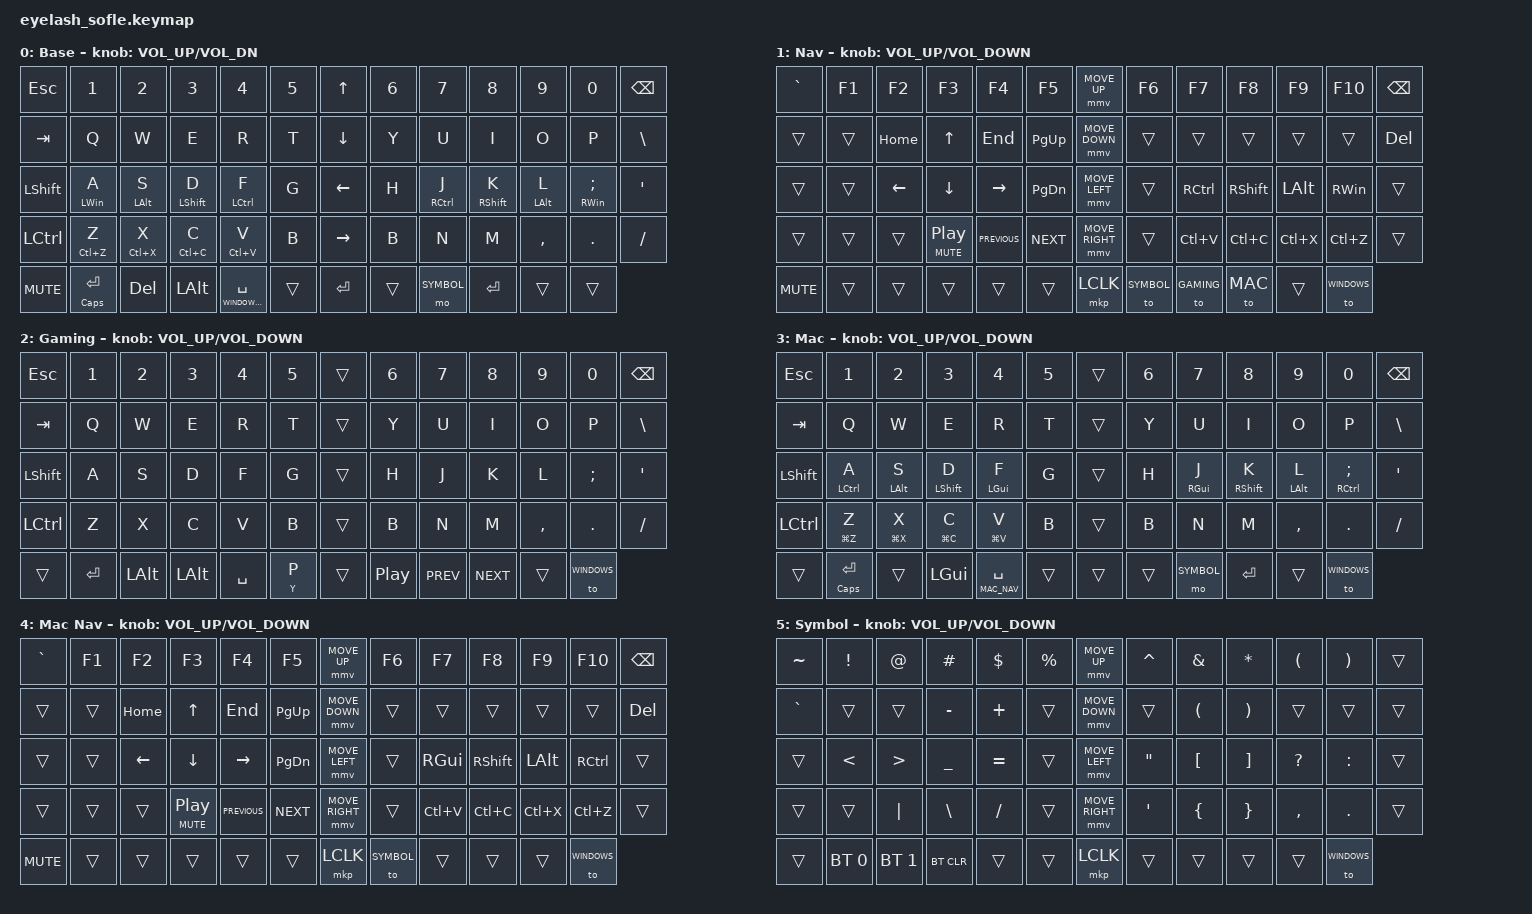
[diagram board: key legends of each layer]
#define ZMK_POINTING_DEFAULT_MOVE_VAL 1200  // 600
#define ZMK_POINTING_DEFAULT_SCRL_VAL 25   // 10
#define WINDOWS 0
#define WINDOWS_NAV 1
#define GAMING 2
#define MAC 3
#define MAC_NAV 4
#define SYMBOL 5

#include <input/processors.dtsi>
#include <zephyr/dt-bindings/input/input-event-codes.h>
#include <behaviors.dtsi>
#include <dt-bindings/zmk/bt.h>
#include <dt-bindings/zmk/keys.h>
#include <dt-bindings/zmk/pointing.h>

/ {
    zip_scroll_scaler: zip_scroll_scaler {
        compatible = "zmk,input-processor-scaler";
        #input-processor-cells = <2>;
        type = <INPUT_EV_REL>;
        codes = <INPUT_REL_WHEEL INPUT_REL_HWHEEL>;
        track-remainders;
    };
};

&mmv_input_listener { input-processors = <&zip_xy_scaler 2 1>; };

&msc_input_listener { input-processors = <&zip_scroll_scaler 2 1>; };

&msc {
    acceleration-exponent = <1>;      // 0
    time-to-max-speed-ms = <100>;       // 300
    delay-ms = <0>;                   // 0
};

&mmv {
    time-to-max-speed-ms = <500>;
    acceleration-exponent = <1>;
    trigger-period-ms = <16>;
};

&soft_off { hold-time-ms = <2000>; };

/ {
    scroll_encoder: scroll_encoder {
        compatible = "zmk,behavior-sensor-rotate";
        #sensor-binding-cells = <0>;
        bindings = <&msc SCRL_DOWN>, <&msc SCRL_UP>;

        tap-ms = <100>;
    };

    hml: hml {
        compatible = "zmk,behavior-hold-tap";
        label = "home_row_mod_left";
        bindings = <&kp>, <&kp>;

        #binding-cells = <2>;
        flavor = "balanced";
        hold-trigger-on-release;
        require-prior-idle-ms = <150>;
        tapping-term-ms = <280>;
        quick-tap-ms = <175>;
        hold-trigger-key-positions = <20 21 22 23 24 20 21 22 23 24 25 33 34 35 36 37 38 46 47 48 49 50 51 14 15 16 17 18 7 8 9 10 11>;
    };

    hmr: hmr {
        compatible = "zmk,behavior-hold-tap";
        label = "home_row_mod_right ";
        bindings = <&kp>, <&kp>;

        #binding-cells = <2>;
        tapping-term-ms = <280>;
        quick-tap-ms = <175>;
        require-prior-idle-ms = <150>;
        flavor = "balanced";
        hold-trigger-on-release;
        hold-trigger-key-positions = <14 15 16 17 18 27 28 29 30 31 40 41 42 43 44 1 2 3 4 5 7 8 9 10 11>;
    };

    mt_tp: mt_tp {
        compatible = "zmk,behavior-hold-tap";
        label = "mod_tap_tap_preferred";
        bindings = <&kp>, <&kp>;

        #binding-cells = <2>;
        tapping-term-ms = <180>;
        flavor = "tap-preferred";
        quick-tap-ms = <165>;
    };

    td_copy: td_copy {
        compatible = "zmk,behavior-tap-dance";
        label = "tap_dance_copy";
        #binding-cells = <0>;
        bindings = <&kp C>, <&kp LC(C)>;

        tapping-term-ms = <180>;
    };

    td_paste: td_paste {
        compatible = "zmk,behavior-tap-dance";
        label = "tap_dance_paste";
        #binding-cells = <0>;
        bindings = <&kp V>, <&kp LC(V)>;

        tapping-term-ms = <180>;
    };

    td_cut: td_cut {
        compatible = "zmk,behavior-tap-dance";
        label = "tap_dance_cut";
        #binding-cells = <0>;
        bindings = <&kp X>, <&kp LC(X)>;

        tapping-term-ms = <180>;
    };

    td_undo: td_undo {
        compatible = "zmk,behavior-tap-dance";
        label = "tap_dance_undo";
        #binding-cells = <0>;
        bindings = <&kp Z>, <&kp LC(Z)>;

        tapping-term-ms = <180>;
    };

    behaviors {
    };

    combos {
        compatible = "zmk,combos";

        softoff {
            bindings = <&soft_off>;
            key-positions = <14 28 40>;
        };
    };

    macros {
        SHIFT_MCLK: SHIFT_MCLK {
            compatible = "zmk,behavior-macro";
            #binding-cells = <0>;
            bindings =
                <&macro_press>,
                <&kp LEFT_SHIFT>,
                <&macro_press>,
                <&mkp MB3>,
                <&macro_pause_for_release>,
                <&macro_release>,
                <&kp LEFT_SHIFT &mkp MB3>;

            label = "SHIFT_MCLK";
        };
    };

    keymap {
        compatible = "zmk,keymap";

        layer_0 {
            bindings = <
&kp ESC           &kp N1              &kp N2           &kp N3             &kp N4                 &kp N5    &kp UP_ARROW     &kp N6  &kp N7                &kp N8              &kp N9           &kp N0               &kp BACKSPACE
&kp TAB           &kp Q               &kp W            &kp E              &kp R                  &kp T     &kp DOWN_ARROW   &kp Y   &kp U                 &kp I               &kp O            &kp P                &kp BSLH
&kp LEFT_SHIFT    &hml LEFT_WIN A     &hml LEFT_ALT S  &hml LEFT_SHIFT D  &hml LEFT_CONTROL F    &kp G     &kp LEFT_ARROW   &kp H   &hmr RIGHT_CONTROL J  &hmr RIGHT_SHIFT K  &hmr LEFT_ALT L  &hmr RIGHT_WIN SEMI  &kp APOS
&kp LEFT_CONTROL  &mt_tp LC(Z) Z      &mt_tp LC(X) X   &mt_tp LC(C) C     &mt_tp LC(V) V         &kp B     &kp RIGHT_ARROW  &kp B   &kp N                 &kp M               &kp COMMA        &kp DOT              &kp FSLH
&kp C_MUTE        &mt CAPSLOCK ENTER  &kp DELETE       &kp LEFT_ALT       &lt WINDOWS_NAV SPACE  &trans    &kp ENTER        &trans  &mo SYMBOL            &kp ENTER           &trans           &trans
            >;

            sensor-bindings = <&inc_dec_kp C_VOLUME_UP C_VOL_DN>;
            display-name = "Base";
        };

        layer_1 {
            bindings = <
&kp GRAVE   &kp F1  &kp F2    &kp F3                   &kp F4          &kp F5        &mmv MOVE_UP     &kp F6      &kp F7      &kp F8     &kp F9        &kp F10        &kp BSPC
&trans      &trans  &kp HOME  &kp UP                   &kp END         &kp PG_UP     &mmv MOVE_DOWN   &trans      &trans      &trans     &trans        &trans         &kp DEL
&trans      &trans  &kp LEFT  &kp DOWN                 &kp RIGHT       &kp PG_DN     &mmv MOVE_LEFT   &trans      &kp RCTRL   &kp RSHFT  &kp LEFT_ALT  &kp RIGHT_WIN  &trans
&trans      &trans  &trans    &mt C_MUTE C_PLAY_PAUSE  &kp C_PREVIOUS  &kp C_NEXT    &mmv MOVE_RIGHT  &trans      &kp LC(V)   &kp LC(C)  &kp LC(X)     &kp LC(Z)      &trans
&kp C_MUTE  &trans  &trans    &trans                   &trans          &trans        &mkp LCLK        &to SYMBOL  &to GAMING  &to MAC    &trans        &to WINDOWS
            >;

            display-name = "Nav";
            sensor-bindings = <&inc_dec_kp C_VOLUME_UP C_VOLUME_DOWN>;
            label = "Nav";
        };

        layer_2 {
            bindings = <
&kp ESC    &kp N1     &kp N2    &kp N3    &kp N4     &kp N5     &trans  &kp N6            &kp N7      &kp N8      &kp N9     &kp N0       &kp BSPC
&kp TAB    &kp Q      &kp W     &kp E     &kp R      &kp T      &trans  &kp Y             &kp U       &kp I       &kp O      &kp P        &kp BSLH
&kp LSHFT  &kp A      &kp S     &kp D     &kp F      &kp G      &trans  &kp H             &kp J       &kp K       &kp L      &kp SEMI     &kp SQT
&kp LCTRL  &kp Z      &kp X     &kp C     &kp V      &kp B      &trans  &kp B             &kp N       &kp M       &kp COMMA  &kp DOT      &kp FSLH
&trans     &kp ENTER  &kp LALT  &kp LALT  &kp SPACE  &mt Y P    &trans  &kp C_PLAY_PAUSE  &kp C_PREV  &kp C_NEXT  &trans     &to WINDOWS
            >;

            display-name = "Gaming";
            sensor-bindings = <&inc_dec_kp C_VOLUME_UP C_VOLUME_DOWN>;
            label = "Gaming";
        };

        layer_3 {
            bindings = <
&kp ESC    &kp N1               &kp N2           &kp N3             &kp N4             &kp N5    &trans  &kp N6  &kp N7            &kp N8              &kp N9           &kp N0                   &kp BSPC
&kp TAB    &kp Q                &kp W            &kp E              &kp R              &kp T     &trans  &kp Y   &kp U             &kp I               &kp O            &kp P                    &kp BSLH
&kp LSHFT  &hml LEFT_CONTROL A  &hml LEFT_ALT S  &hml LEFT_SHIFT D  &hml LEFT_GUI F    &kp G     &trans  &kp H   &hmr RIGHT_GUI J  &hmr RIGHT_SHIFT K  &hmr LEFT_ALT L  &hmr RIGHT_CONTROL SEMI  &kp SQT
&kp LCTRL  &mt_tp LG(Z) Z       &mt_tp LG(X) X   &mt_tp LG(C) C     &mt_tp LG(V) V     &kp B     &trans  &kp B   &kp N             &kp M               &kp COMMA        &kp DOT                  &kp FSLH
&trans     &mt CAPSLOCK ENTER   &trans           &kp LEFT_GUI       &lt MAC_NAV SPACE  &trans    &trans  &trans  &mo SYMBOL        &kp ENTER           &trans           &to WINDOWS
            >;

            display-name = "Mac";
            sensor-bindings = <&inc_dec_kp C_VOLUME_UP C_VOLUME_DOWN>;
            label = "Mac";
        };

        layer_4 {
            bindings = <
&kp GRAVE   &kp F1  &kp F2    &kp F3                   &kp F4          &kp F5        &mmv MOVE_UP     &kp F6      &kp F7         &kp F8           &kp F9        &kp F10            &kp BSPC
&trans      &trans  &kp HOME  &kp UP                   &kp END         &kp PG_UP     &mmv MOVE_DOWN   &trans      &trans         &trans           &trans        &trans             &kp DEL
&trans      &trans  &kp LEFT  &kp DOWN                 &kp RIGHT       &kp PG_DN     &mmv MOVE_LEFT   &trans      &kp RIGHT_GUI  &kp RIGHT_SHIFT  &kp LEFT_ALT  &kp RIGHT_CONTROL  &trans
&trans      &trans  &trans    &mt C_MUTE C_PLAY_PAUSE  &kp C_PREVIOUS  &kp C_NEXT    &mmv MOVE_RIGHT  &trans      &kp LC(V)      &kp LC(C)        &kp LC(X)     &kp LC(Z)          &trans
&kp C_MUTE  &trans  &trans    &trans                   &trans          &trans        &mkp LCLK        &to SYMBOL  &trans         &trans           &trans        &to WINDOWS
            >;

            display-name = "Mac Nav";
            sensor-bindings = <&inc_dec_kp C_VOLUME_UP C_VOLUME_DOWN>;
            label = "Mac Nav";
        };

        layer_5 {
            bindings = <
&kp TILDE  &kp EXCLAMATION  &kp AT_SIGN       &kp HASH        &kp DOLLAR  &kp PERCENT    &mmv MOVE_UP     &kp CARET          &kp AMPERSAND         &kp ASTERISK           &kp LEFT_PARENTHESIS  &kp RIGHT_PARENTHESIS  &trans
&kp GRAVE  &trans           &trans            &kp MINUS       &kp PLUS    &trans         &mmv MOVE_DOWN   &trans             &kp LEFT_PARENTHESIS  &kp RIGHT_PARENTHESIS  &trans                &trans                 &trans
&trans     &kp LESS_THAN    &kp GREATER_THAN  &kp UNDERSCORE  &kp EQUAL   &trans         &mmv MOVE_LEFT   &kp DOUBLE_QUOTES  &kp LEFT_BRACKET      &kp RIGHT_BRACKET      &kp QUESTION          &kp COLON              &trans
&trans     &trans           &kp PIPE          &kp BACKSLASH   &kp SLASH   &trans         &mmv MOVE_RIGHT  &kp SINGLE_QUOTE   &kp LEFT_BRACE        &kp RIGHT_BRACE        &kp COMMA             &kp PERIOD             &trans
&trans     &bt BT_SEL 0     &bt BT_SEL 1      &bt BT_CLR      &trans      &trans         &mkp LCLK        &trans             &trans                &trans                 &trans                &to WINDOWS
            >;

            display-name = "Symbol";
            sensor-bindings = <&inc_dec_kp C_VOLUME_UP C_VOLUME_DOWN>;
            label = "Symbol";
        };
    };
};
